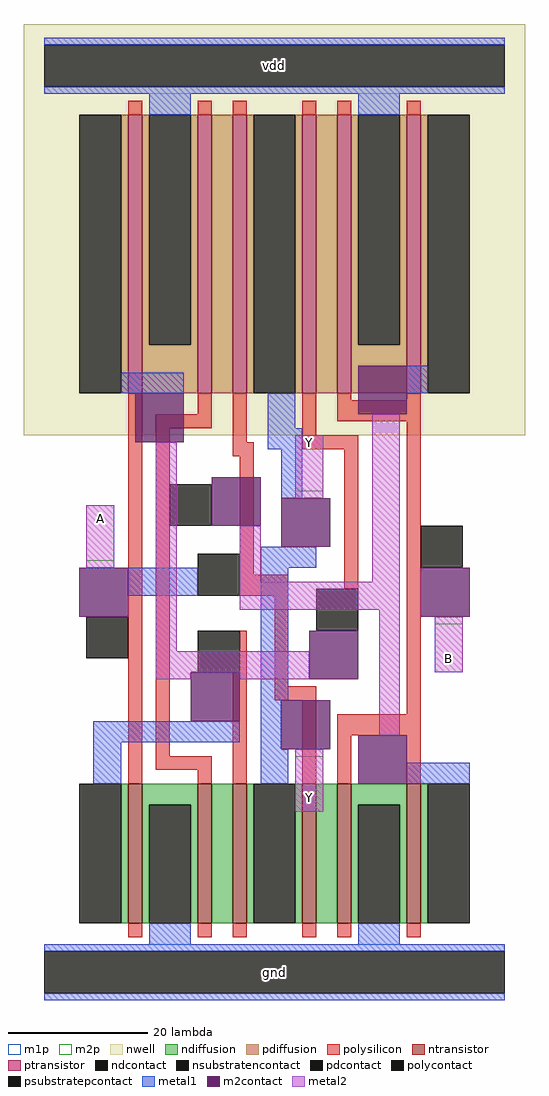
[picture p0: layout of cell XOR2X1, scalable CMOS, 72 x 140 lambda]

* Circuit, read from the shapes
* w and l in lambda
.subckt XOR2X1 A B Y vdd gnd
M1 gnd A n1 gnd nfet w=20 l=2
M2 n2 n3 gnd gnd nfet w=20 l=2
M3 Y n1 n2 gnd nfet w=20 l=2
M4 n4 A Y gnd nfet w=20 l=2
M5 gnd B n4 gnd nfet w=20 l=2
M6 n3 B gnd gnd nfet w=20 l=2
M7 vdd A n1 vdd pfet w=40 l=2
M8 n5 n3 vdd vdd pfet w=40 l=2
M9 Y A n5 vdd pfet w=40 l=2
M10 n6 n1 Y vdd pfet w=40 l=2
M11 vdd B n6 vdd pfet w=40 l=2
M12 n3 B vdd vdd pfet w=40 l=2
.ends

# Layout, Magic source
magic
tech scmos
<< nwell >>
rect -6 77 66 136
<< ntransistor >>
rect 9 7 11 27
rect 19 7 21 27
rect 24 7 26 27
rect 34 7 36 27
rect 39 7 41 27
rect 49 7 51 27
<< ptransistor >>
rect 9 83 11 123
rect 19 83 21 123
rect 24 83 26 123
rect 34 83 36 123
rect 39 83 41 123
rect 49 83 51 123
<< ndiffusion >>
rect 8 7 9 27
rect 11 24 19 27
rect 11 7 12 24
rect 18 7 19 24
rect 21 7 24 27
rect 26 7 27 27
rect 33 7 34 27
rect 36 7 39 27
rect 41 24 49 27
rect 41 7 42 24
rect 48 7 49 24
rect 51 7 52 27
<< pdiffusion >>
rect 8 83 9 123
rect 11 90 12 123
rect 18 90 19 123
rect 11 83 19 90
rect 21 83 24 123
rect 26 83 27 123
rect 33 83 34 123
rect 36 83 39 123
rect 41 90 42 123
rect 48 90 49 123
rect 41 83 49 90
rect 51 83 52 123
<< ndcontact >>
rect 2 7 8 27
rect 12 7 18 24
rect 27 7 33 27
rect 42 7 48 24
rect 52 7 58 27
<< pdcontact >>
rect 2 83 8 123
rect 12 90 18 123
rect 27 83 33 123
rect 42 90 48 123
rect 52 83 58 123
<< psubstratepcontact >>
rect -3 -3 63 3
<< nsubstratencontact >>
rect -3 127 63 133
<< polysilicon >>
rect 9 123 11 125
rect 19 123 21 125
rect 24 123 26 125
rect 34 123 36 125
rect 39 123 41 125
rect 49 123 51 125
rect 9 27 11 83
rect 19 80 21 83
rect 13 78 21 80
rect 13 31 15 78
rect 24 76 26 83
rect 34 77 36 83
rect 39 82 41 83
rect 49 82 51 83
rect 39 79 51 82
rect 24 74 27 76
rect 34 75 42 77
rect 25 57 27 74
rect 25 54 32 57
rect 40 55 42 75
rect 25 43 26 49
rect 13 29 21 31
rect 19 27 21 29
rect 24 27 26 43
rect 30 41 32 54
rect 30 39 36 41
rect 34 27 36 39
rect 49 37 51 79
rect 39 34 51 37
rect 39 27 41 34
rect 49 27 51 34
rect 9 5 11 7
rect 19 5 21 7
rect 24 5 26 7
rect 34 5 36 7
rect 39 5 41 7
rect 49 5 51 7
<< polycontact >>
rect 3 45 9 51
rect 15 64 21 70
rect 19 54 25 60
rect 19 43 25 49
rect 36 49 42 55
rect 51 58 57 64
<< metal1 >>
rect -3 133 63 134
rect -3 126 63 127
rect 12 123 18 126
rect 42 123 48 126
rect 8 83 17 86
rect 29 78 33 83
rect 49 83 52 87
rect 29 75 34 78
rect 31 68 34 75
rect 9 54 19 58
rect 28 58 36 61
rect 4 33 25 36
rect 28 39 32 58
rect 4 27 8 33
rect 28 32 31 39
rect 28 27 32 32
rect 49 27 58 30
rect 12 4 18 7
rect 42 4 48 7
rect -3 3 63 4
rect -3 -4 63 -3
<< m2contact >>
rect 10 76 17 83
rect 42 80 49 87
rect 21 64 28 71
rect 31 61 38 68
rect 2 51 9 58
rect 18 36 25 43
rect 51 51 58 58
rect 35 42 42 49
rect 31 32 38 39
rect 42 27 49 34
<< metal2 >>
rect 3 58 7 67
rect 13 46 16 76
rect 33 68 37 77
rect 25 56 28 64
rect 44 56 48 80
rect 25 52 48 56
rect 13 43 35 46
rect 13 42 18 43
rect 25 42 35 43
rect 45 34 48 52
rect 53 43 57 51
rect 33 23 37 32
<< m1p >>
rect -3 126 63 134
rect -3 -4 63 4
<< m2p >>
rect 33 69 37 77
rect 3 59 7 67
rect 53 43 57 50
rect 33 23 37 31
<< labels >>
rlabel metal2 5 65 5 65 1 A
port 1 n signal input
rlabel metal2 55 45 55 45 5 B
port 2 n signal input
rlabel metal2 35 76 35 76 5 Y
port 3 n signal output
rlabel metal1 -3 126 63 134 0 vdd
port 4 nsew power bidirectional abutment
rlabel metal1 -3 -4 63 4 0 gnd
port 5 nsew ground bidirectional abutment
rlabel metal2 35 25 35 25 1 Y
port 3 n signal output
<< properties >>
string FIXED_BBOX 0 0 60 130
string LEFclass CORE
string LEFsite core
string LEFsymmetry X Y
<< end >>
